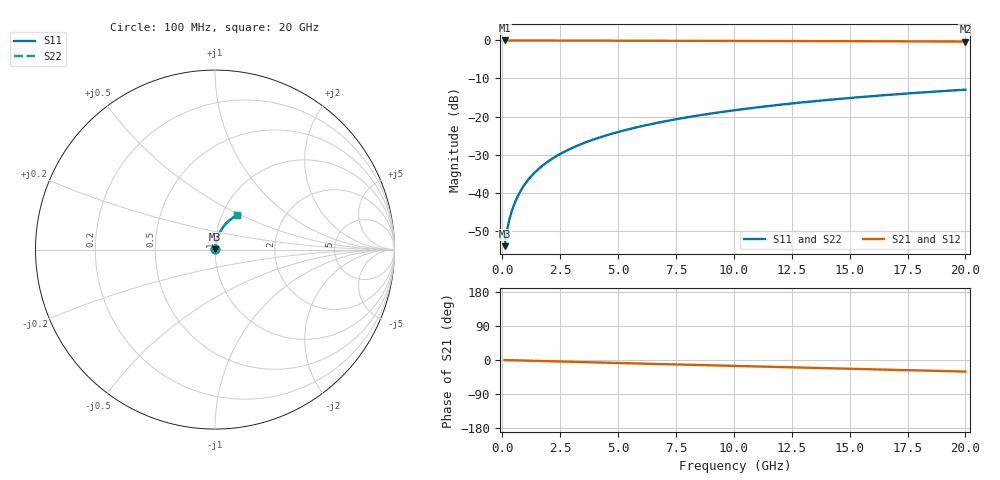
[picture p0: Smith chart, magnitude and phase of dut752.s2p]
! Touchstone file exported from HFSS 2026.1.0
!  File:  C:/ffzhzh/LocalFiles/Ansys_Project_Files/temp_train_TMRDL_752_1783155285_55132.aedt
!  Generated:  04:56:05 PM Jul  4, 2026
!  Design:  TMRDL
!  Project:  temp_train_TMRDL_752_1783155285_55132
! Variables:
!  h_bsmrdl = 2um
!  h_ox = 20um
!  h_rdl = 5um
!  h_sub = 80um
!  h_tmrdl = 5.56um
!  h_tsv = 80um
!  h_via = 3um
!  l_bsmrdl = 300um
!  l_sub = 867.97um
!  l_tmrdl = 467.97um
!  m_sub = 200um
!  pitch = 46.71um
!  r_tsv = 6um
!  s_tmrdl = 10um
!  w_bsmrdl = 18um
!  w_sub = 500um
!  w_tmrdl = 26.28um
!  x_tsv_center1 = 481.11um
!  x_tsv_center2 = 799.11um
!  x_tsv_center3 = 1293.36um
!  x_tsv_center4 = 1611.36um
!  x_tsv_center5 = 2105.61um
!  x_tsv_center6 = 2423.61um
# GHz S MA R 50.000000
! Terminal data exported
! Port[1] = TM_RDL1_1_T1
! Port[2] = TM_RDL1_1_T2
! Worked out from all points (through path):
!   200 points, 100 MHz to 20 GHz, reference 50 ohm
!   highest |S21| = -0.01 dB at 100 MHz (marker M1); lowest = -0.3 dB at 20 GHz (marker M2)
!   group delay of S21, straight-line fit = 4.23 ps
!   lowest |S11| = -54.1 dB at 100 MHz (marker M3), VSWR 1.00, Z = 50.1 + j0.147 ohm
!   |S11| at or under -10 dB: start of sweep to end of sweep
!   |S22| runs from -54.1 to -12.9 dB; largest |S21 - S12| = 4.5e-15
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0.1  0.001982 47.7  0.9987 -0.2  0.9987 -0.2  0.001982 47.7
! Gamma 0 0 0 0
! Port Impedance 50 0 50 0
0.2  0.003163 62.3  0.9985 -0.3  0.9985 -0.3  0.003163 62.3
0.3  0.004376 69.0  0.9985 -0.5  0.9985 -0.5  0.004376 69.0
0.4  0.00561 72.9  0.9984 -0.7  0.9984 -0.7  0.00561 72.9
0.5  0.006862 75.5  0.9984 -0.8  0.9984 -0.8  0.006862 75.5
0.6  0.008127 77.2  0.9983 -1.0  0.9983 -1.0  0.008127 77.2
0.8  0.01068 79.4  0.9982 -1.3  0.9982 -1.3  0.01068 79.4
1.1  0.01452 80.9  0.998 -1.8  0.998 -1.8  0.01452 80.9
1.3  0.01709 81.4  0.9979 -2.1  0.9979 -2.1  0.01709 81.4
1.5  0.01964 81.6  0.9978 -2.4  0.9978 -2.4  0.01964 81.6
1.8  0.02346 81.7  0.9975 -2.9  0.9975 -2.9  0.02346 81.7
2.1  0.02725 81.6  0.9972 -3.4  0.9972 -3.4  0.02725 81.6
2.7  0.03475 81.1  0.9966 -4.3  0.9966 -4.3  0.03475 81.2
3.5  0.0446 80.3  0.9958 -5.6  0.9958 -5.6  0.0446 80.3
4.2  0.05309 79.4  0.995 -6.7  0.995 -6.7  0.05309 79.4
5  0.06269 78.4  0.994 -7.9  0.994 -7.9  0.06269 78.4
6.8  0.08394 76.0  0.9916 -10.7  0.9916 -10.7  0.08394 76.0
8.3  0.1013 74.0  0.9895 -13.0  0.9895 -13.0  0.1013 74.0
10.1  0.1218 71.5  0.9866 -15.7  0.9866 -15.7  0.1218 71.5
13.4  0.1582 66.8  0.9807 -20.7  0.9807 -20.7  0.1582 66.9
16.7  0.1928 62.1  0.9738 -25.6  0.9738 -25.6  0.1928 62.2
20  0.2254 57.5  0.9663 -30.5  0.9663 -30.5  0.2254 57.5
